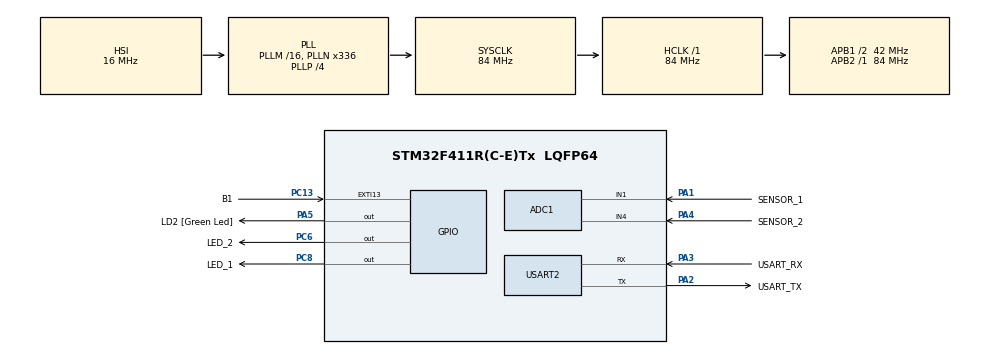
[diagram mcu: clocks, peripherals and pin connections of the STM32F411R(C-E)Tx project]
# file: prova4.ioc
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ADC1.Channel-0\#ChannelRegularConversion=ADC_CHANNEL_1
ADC1.NbrOfConversionFlag=1
ADC1.Rank-0\#ChannelRegularConversion=1
ADC1.SamplingTime-0\#ChannelRegularConversion=ADC_SAMPLETIME_3CYCLES
ADC1.master=1
Mcu.Family=STM32F4
Mcu.Name=STM32F411R(C-E)Tx
Mcu.Package=LQFP64
NVIC.EXTI15_10_IRQn=true\:0\:0\:false\:false\:true\:true\:true\:true
NVIC.PriorityGroup=NVIC_PRIORITYGROUP_0
NVIC.TIM1_TRG_COM_TIM11_IRQn=true\:0\:0\:false\:false\:true\:true\:true\:true
PA1.GPIO_Label=SENSOR_1
PA1.Signal=ADCx_IN1
PA13.GPIO_Label=TMS
PA13.Mode=Serial_Wire
PA13.Signal=SYS_JTMS-SWDIO
PA14.GPIO_Label=TCK
PA14.Mode=Serial_Wire
PA14.Signal=SYS_JTCK-SWCLK
PA2.GPIO_Label=USART_TX
PA2.Mode=Asynchronous
PA2.Signal=USART2_TX
PA3.GPIO_Label=USART_RX
PA3.Mode=Asynchronous
PA3.Signal=USART2_RX
PA4.GPIO_Label=SENSOR_2
PA4.Signal=ADCx_IN4
PA5.GPIO_Label=LD2 [Green Led]
PA5.Signal=GPIO_Output
PB3.GPIO_Label=SWO
PB3.Signal=SYS_JTDO-SWO
PC13-ANTI_TAMP.GPIO_Label=B1
PC13-ANTI_TAMP.Signal=GPXTI13
PC14-OSC32_IN.Signal=RCC_OSC32_IN
PC15-OSC32_OUT.Signal=RCC_OSC32_OUT
PC6.GPIO_Label=LED_2
PC6.Signal=GPIO_Output
PC8.GPIO_Label=LED_1
PC8.Signal=GPIO_Output
PH0\ -\ OSC_IN.Mode=HSE-External-Oscillator
PH0\ -\ OSC_IN.Signal=RCC_OSC_IN
PH1\ -\ OSC_OUT.Mode=HSE-External-Oscillator
PH1\ -\ OSC_OUT.Signal=RCC_OSC_OUT
ProjectManager.HeapSize=0x200
ProjectManager.StackSize=0x400
ProjectManager.TargetToolchain=Makefile
RCC.48MHZClocksFreq_Value=84000000
RCC.AHBFreq_Value=84000000
RCC.APB1CLKDivider=RCC_HCLK_DIV2
RCC.APB1Freq_Value=42000000
RCC.APB1TimFreq_Value=84000000
RCC.APB2Freq_Value=84000000
RCC.APB2TimFreq_Value=84000000
RCC.CortexFreq_Value=84000000
RCC.FLatency-AdvancedSettings=FLASH_LATENCY_2
RCC.HCLKFreq_Value=84000000
RCC.HSE_VALUE=8000000
RCC.HSI_VALUE=16000000
RCC.PLLN=336
RCC.PLLP=RCC_PLLP_DIV4
RCC.SYSCLKFreq_VALUE=84000000
RCC.SYSCLKSource=RCC_SYSCLKSOURCE_PLLCLK
RCC.VCOOutputFreq_Value=336000000
SH.ADCx_IN1.0=ADC1_IN1,IN1
SH.ADCx_IN4.0=ADC1_IN4,IN4
TIM11.Prescaler=8399
USART2.VirtualMode=VM_ASYNC
VP_TIM11_VS_ClockSourceINT.Mode=Enable_Timer
board=NUCLEO-F411RE

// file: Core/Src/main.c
/* USER CODE BEGIN Header */
/**
  ******************************************************************************
  * @file           : main.c
  * @brief          : Main program body
  ******************************************************************************
  * @attention
  *
  * Copyright (c) 2022 STMicroelectronics.
  * All rights reserved.
  *
  * This software is licensed under terms that can be found in the LICENSE file
  * in the root directory of this software component.
  * If no LICENSE file comes with this software, it is provided AS-IS.
  *
  ******************************************************************************
  */
/* USER CODE END Header */
#include "main.h"

/* USER CODE BEGIN Includes */
#include <stdio.h>
#include <string.h>
/* USER CODE END Includes */

/* USER CODE BEGIN PD */
#define SENSOR_1_DELAY 200
#define SENSOR_2_DELAY 350
#define BUTTON_DELAY 200
/* USER CODE END PD */

ADC_HandleTypeDef hadc1;

TIM_HandleTypeDef htim11;

UART_HandleTypeDef huart2;

/* USER CODE BEGIN PV */
enum state{
  WAITING,
  RUNNING,
  DANGER
} current_state = RUNNING;

int channel_s = 0;
uint64_t SENSOR_1_LAST_T = 0;
uint64_t SENSOR_2_LAST_T = 0;
uint64_t BUTTON_LAST_T = 0;
uint64_t overflow = -(1<<16);

uint8_t waiting_txt[] = "Board in waiting state - please press the emergency button\n\r";
uint8_t to_print[50];
/* USER CODE END PV */

void SystemClock_Config(void);
static void MX_GPIO_Init(void);
static void MX_ADC1_Init(void);
static void MX_USART2_UART_Init(void);
static void MX_TIM11_Init(void);

/* USER CODE BEGIN 0 */
void read(void)
{
  uint16_t s1 = 0, s2 = 0;
  if(__HAL_TIM_GET_COUNTER(&htim11) + overflow >= (SENSOR_1_LAST_T + SENSOR_1_DELAY*10))
  {
    channel_s = 0;
    MX_ADC1_Init();
    HAL_ADC_Start(&hadc1);
    if(HAL_ADC_PollForConversion(&hadc1, 100) == HAL_OK)
      s1 = HAL_ADC_GetValue(&hadc1);

    int s1_v = s1 / 4096.0 * 3300;
    sprintf(to_print, "[%d] %dmV\n\r", (int)(__HAL_TIM_GET_COUNTER(&htim11) + overflow)/10, s1_v);
    HAL_UART_Transmit(&huart2, to_print, strlen(to_print), 100);
    SENSOR_1_LAST_T = __HAL_TIM_GET_COUNTER(&htim11) + overflow;
  }
  if(__HAL_TIM_GET_COUNTER(&htim11) + overflow >= (SENSOR_2_LAST_T + SENSOR_2_DELAY*10))
  {
    channel_s = 1;
    MX_ADC1_Init();
    HAL_ADC_Start(&hadc1);
    if(HAL_ADC_PollForConversion(&hadc1, 100) == HAL_OK)
      s2 = HAL_ADC_GetValue(&hadc1);

    int s2_v = s2 / 4096.0 * 3300;
    HAL_GPIO_WritePin(LED_1_GPIO_Port, LED_1_Pin, (s2_v > 2700));
    HAL_GPIO_WritePin(LED_2_GPIO_Port, LED_2_Pin, (s2_v < 1800));
    if((s2_v > 2.7) || (s2_v < 1.8)) current_state = DANGER;
    else current_state = RUNNING;
    SENSOR_2_LAST_T = __HAL_TIM_GET_COUNTER(&htim11) + overflow;
  }
}
/* USER CODE END 0 */

int main(void)
{

  /* MCU Configuration--------------------------------------------------------*/

  /* Reset of all peripherals, Initializes the Flash interface and the Systick. */
  HAL_Init();

  /* Configure the system clock */
  SystemClock_Config();

  /* Initialize all configured peripherals */
  MX_GPIO_Init();
  MX_ADC1_Init();
  MX_USART2_UART_Init();
  MX_TIM11_Init();
  /* USER CODE BEGIN 2 */
  __HAL_TIM_ENABLE_IT(&htim11, TIM_IT_UPDATE );
  HAL_TIM_Base_Start(&htim11);

  /* USER CODE END 2 */

  /* Infinite loop */
  while (1)
  {

    /* USER CODE BEGIN 3 */
    switch(current_state)
    {
      case WAITING:
        //print every 500ms
        HAL_UART_Transmit(&huart2, waiting_txt, sizeof(waiting_txt), 100);
        HAL_Delay(500);
        break;
      case RUNNING:
        read();
        break;
      case DANGER:
        read();
        break;
    }
  }
  /* USER CODE END 3 */
}

void SystemClock_Config(void)
{
  RCC_OscInitTypeDef RCC_OscInitStruct = {0};
  RCC_ClkInitTypeDef RCC_ClkInitStruct = {0};

  /** Configure the main internal regulator output voltage
  */
  __HAL_RCC_PWR_CLK_ENABLE();
  __HAL_PWR_VOLTAGESCALING_CONFIG(PWR_REGULATOR_VOLTAGE_SCALE1);

  /** Initializes the RCC Oscillators according to the specified parameters
  * in the RCC_OscInitTypeDef structure.
  */
  RCC_OscInitStruct.OscillatorType = RCC_OSCILLATORTYPE_HSI;
  RCC_OscInitStruct.HSIState = RCC_HSI_ON;
  RCC_OscInitStruct.HSICalibrationValue = RCC_HSICALIBRATION_DEFAULT;
  RCC_OscInitStruct.PLL.PLLState = RCC_PLL_ON;
  RCC_OscInitStruct.PLL.PLLSource = RCC_PLLSOURCE_HSI;
  RCC_OscInitStruct.PLL.PLLM = 16;
  RCC_OscInitStruct.PLL.PLLN = 336;
  RCC_OscInitStruct.PLL.PLLP = RCC_PLLP_DIV4;
  RCC_OscInitStruct.PLL.PLLQ = 4;
  if (HAL_RCC_OscConfig(&RCC_OscInitStruct) != HAL_OK)
  {
    Error_Handler();
  }

  /** Initializes the CPU, AHB and APB buses clocks
  */
  RCC_ClkInitStruct.ClockType = RCC_CLOCKTYPE_HCLK|RCC_CLOCKTYPE_SYSCLK
                              |RCC_CLOCKTYPE_PCLK1|RCC_CLOCKTYPE_PCLK2;
  RCC_ClkInitStruct.SYSCLKSource = RCC_SYSCLKSOURCE_PLLCLK;
  RCC_ClkInitStruct.AHBCLKDivider = RCC_SYSCLK_DIV1;
  RCC_ClkInitStruct.APB1CLKDivider = RCC_HCLK_DIV2;
  RCC_ClkInitStruct.APB2CLKDivider = RCC_HCLK_DIV1;

  if (HAL_RCC_ClockConfig(&RCC_ClkInitStruct, FLASH_LATENCY_2) != HAL_OK)
  {
    Error_Handler();
  }
}

static void MX_ADC1_Init(void)
{

  ADC_ChannelConfTypeDef sConfig = {0};

  /** Configure the global features of the ADC (Clock, Resolution, Data Alignment and number of conversion)
  */
  hadc1.Instance = ADC1;
  hadc1.Init.ClockPrescaler = ADC_CLOCK_SYNC_PCLK_DIV4;
  hadc1.Init.Resolution = ADC_RESOLUTION_12B;
  hadc1.Init.ScanConvMode = DISABLE;
  hadc1.Init.ContinuousConvMode = DISABLE;
  hadc1.Init.DiscontinuousConvMode = DISABLE;
  hadc1.Init.ExternalTrigConvEdge = ADC_EXTERNALTRIGCONVEDGE_NONE;
  hadc1.Init.ExternalTrigConv = ADC_SOFTWARE_START;
  hadc1.Init.DataAlign = ADC_DATAALIGN_RIGHT;
  hadc1.Init.NbrOfConversion = 1;
  hadc1.Init.DMAContinuousRequests = DISABLE;
  hadc1.Init.EOCSelection = ADC_EOC_SINGLE_CONV;
  if (HAL_ADC_Init(&hadc1) != HAL_OK)
  {
    Error_Handler();
  }

  /** Configure for the selected ADC regular channel its corresponding rank in the sequencer and its sample time.
  */
  sConfig.Channel = ADC_CHANNEL_1;
  sConfig.Rank = 1;
  sConfig.SamplingTime = ADC_SAMPLETIME_3CYCLES;
  if (HAL_ADC_ConfigChannel(&hadc1, &sConfig) != HAL_OK)
  {
    Error_Handler();
  }
  /* USER CODE BEGIN ADC1_Init 2 */
  if(channel_s)
  {
    sConfig.Channel = ADC_CHANNEL_4;
    sConfig.Rank = 1;
    sConfig.SamplingTime = ADC_SAMPLETIME_3CYCLES;
    if (HAL_ADC_ConfigChannel(&hadc1, &sConfig) != HAL_OK)
    {
      Error_Handler();
    }
  }
  /* USER CODE END ADC1_Init 2 */

}

static void MX_TIM11_Init(void)
{

  htim11.Instance = TIM11;
  htim11.Init.Prescaler = 8399;
  htim11.Init.CounterMode = TIM_COUNTERMODE_UP;
  htim11.Init.Period = 65535;
  htim11.Init.ClockDivision = TIM_CLOCKDIVISION_DIV1;
  htim11.Init.AutoReloadPreload = TIM_AUTORELOAD_PRELOAD_DISABLE;
  if (HAL_TIM_Base_Init(&htim11) != HAL_OK)
  {
    Error_Handler();
  }

}

static void MX_USART2_UART_Init(void)
{

  huart2.Instance = USART2;
  huart2.Init.BaudRate = 115200;
  huart2.Init.WordLength = UART_WORDLENGTH_8B;
  huart2.Init.StopBits = UART_STOPBITS_1;
  huart2.Init.Parity = UART_PARITY_NONE;
  huart2.Init.Mode = UART_MODE_TX_RX;
  huart2.Init.HwFlowCtl = UART_HWCONTROL_NONE;
  huart2.Init.OverSampling = UART_OVERSAMPLING_16;
  if (HAL_UART_Init(&huart2) != HAL_OK)
  {
    Error_Handler();
  }

}

static void MX_GPIO_Init(void)
{
  GPIO_InitTypeDef GPIO_InitStruct = {0};

  /* GPIO Ports Clock Enable */
  __HAL_RCC_GPIOC_CLK_ENABLE();
  __HAL_RCC_GPIOH_CLK_ENABLE();
  __HAL_RCC_GPIOA_CLK_ENABLE();
  __HAL_RCC_GPIOB_CLK_ENABLE();

  /*Configure GPIO pin Output Level */
  HAL_GPIO_WritePin(LD2_GPIO_Port, LD2_Pin, GPIO_PIN_RESET);

  /*Configure GPIO pin Output Level */
  HAL_GPIO_WritePin(GPIOC, LED_2_Pin|LED_1_Pin, GPIO_PIN_RESET);

  /*Configure GPIO pin : B1_Pin */
  GPIO_InitStruct.Pin = B1_Pin;
  GPIO_InitStruct.Mode = GPIO_MODE_IT_RISING;
  GPIO_InitStruct.Pull = GPIO_NOPULL;
  HAL_GPIO_Init(B1_GPIO_Port, &GPIO_InitStruct);

  /*Configure GPIO pin : LD2_Pin */
  GPIO_InitStruct.Pin = LD2_Pin;
  GPIO_InitStruct.Mode = GPIO_MODE_OUTPUT_PP;
  GPIO_InitStruct.Pull = GPIO_NOPULL;
  GPIO_InitStruct.Speed = GPIO_SPEED_FREQ_LOW;
  HAL_GPIO_Init(LD2_GPIO_Port, &GPIO_InitStruct);

  /*Configure GPIO pins : LED_2_Pin LED_1_Pin */
  GPIO_InitStruct.Pin = LED_2_Pin|LED_1_Pin;
  GPIO_InitStruct.Mode = GPIO_MODE_OUTPUT_PP;
  GPIO_InitStruct.Pull = GPIO_NOPULL;
  GPIO_InitStruct.Speed = GPIO_SPEED_FREQ_LOW;
  HAL_GPIO_Init(GPIOC, &GPIO_InitStruct);

  /* EXTI interrupt init*/
  HAL_NVIC_SetPriority(EXTI15_10_IRQn, 0, 0);
  HAL_NVIC_EnableIRQ(EXTI15_10_IRQn);

}

/* USER CODE BEGIN 4 */
void HAL_GPIO_EXTI_Callback(uint16_t GPIO_Pin)
{
  if(GPIO_Pin == B1_Pin &&
    (uint64_t)(__HAL_TIM_GET_COUNTER(&htim11)+overflow) >= (uint64_t)(BUTTON_LAST_T + BUTTON_DELAY*10))
  {
    if(current_state == WAITING) current_state = RUNNING;
    else current_state = WAITING;
    BUTTON_LAST_T = __HAL_TIM_GET_COUNTER(&htim11) + overflow;
  }
}

void HAL_TIM_PeriodElapsedCallback(TIM_HandleTypeDef *htim)
{
  overflow += (1<<16);
}
/* USER CODE END 4 */

void Error_Handler(void)
{
  __disable_irq();
  while (1)
  {
  }
}
